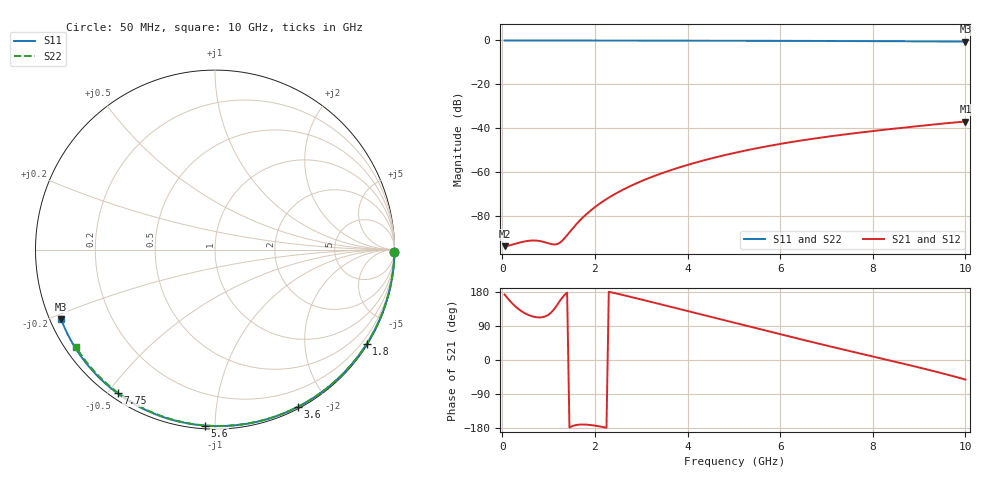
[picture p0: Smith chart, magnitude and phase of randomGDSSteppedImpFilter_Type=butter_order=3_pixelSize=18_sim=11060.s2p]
! freq	dB(S11)	phase(S11)	dB(S12)	phase(S12)
!  dB(S21)	phase(S21)	dB(S22)	phase(S22)
!S-par simulation data
#  GHz  S  DB  R 50
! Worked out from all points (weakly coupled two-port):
!   200 points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, 50 MHz to 10 GHz, reference 50 ohm
!   highest |S21| = -36.85 dB at 10 GHz (marker M1); lowest = -93.5 dB at 50 MHz (marker M2)
!   lowest |S11| = -0.5 dB at 10 GHz (marker M3), VSWR 32.96, Z = 1.59 - j10.7 ohm
!   |S11| at or under -10 dB: nowhere
!   |S22| runs from -0.5 to 0.0 dB; largest |S21 - S12| = 0
!   S11 on the Smith chart (normalised r, x): 50 MHz: open; 1.8 GHz: 0.03, -3.50; 3.6 GHz: 0.02, -1.66; 5.6 GHz: 0.02, -0.95; 7.75 GHz: 0.02, -0.53; 10 GHz: 0.03, -0.21
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0.05  -0.00 -0.9  -93.51 172.6  -93.51 172.6  -0.00 -0.8
0.45  -0.01 -8.1  -91.49 126.1  -91.49 126.1  -0.01 -7.6
0.85  -0.02 -15.2  -91.35 112.7  -91.35 112.7  -0.02 -14.3
1.3  -0.03 -23.2  -90.89 165.4  -90.89 165.4  -0.03 -21.7
1.75  -0.04 -31.0  -80.25 -170.2  -80.25 -170.2  -0.04 -29.0
1.8  -0.04 -31.9  -79.27 -170.4  -79.27 -170.4  -0.04 -29.9
1.95  -0.04 -34.5  -76.58 -172.3  -76.58 -172.3  -0.04 -32.3
2.1  -0.05 -37.1  -74.22 -175.2  -74.22 -175.2  -0.04 -34.7
2.45  -0.06 -43.0  -69.60 175.9  -69.60 175.9  -0.05 -40.3
2.9  -0.07 -50.6  -64.90 162.8  -64.90 162.8  -0.06 -47.4
3.4  -0.08 -58.9  -60.70 147.6  -60.70 147.6  -0.07 -55.2
3.6  -0.08 -62.1  -59.23 141.5  -59.23 141.5  -0.08 -58.2
4.3  -0.10 -73.3  -54.80 120.1  -54.80 120.1  -0.10 -68.7
5.05  -0.13 -84.9  -50.94 97.1  -50.94 97.1  -0.12 -79.6
5.6  -0.15 -93.2  -48.56 80.3  -48.56 80.3  -0.14 -87.4
6.15  -0.18 -101.3  -46.50 63.5  -46.50 63.5  -0.17 -95.0
6.7  -0.21 -109.3  -44.70 47.0  -44.70 47.0  -0.20 -102.4
7.2  -0.25 -116.4  -43.25 32.3  -43.25 32.3  -0.23 -109.0
7.75  -0.29 -124.2  -41.81 16.4  -41.81 16.4  -0.27 -116.2
8.35  -0.34 -132.6  -40.36 -0.8  -40.36 -0.8  -0.32 -123.9
9.2  -0.43 -144.5  -38.45 -25.7  -38.45 -25.7  -0.40 -134.8
10  -0.53 -155.8  -36.85 -51.6  -36.85 -51.6  -0.48 -145.0
